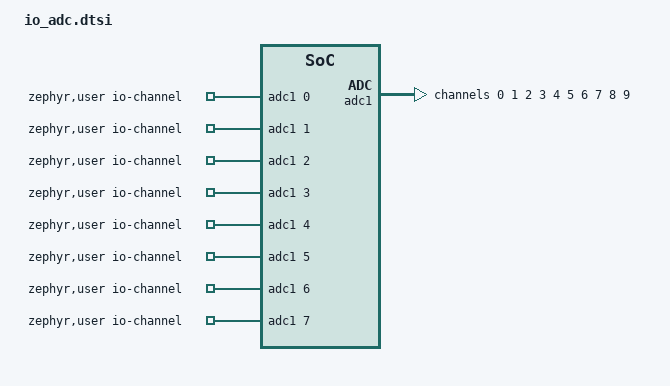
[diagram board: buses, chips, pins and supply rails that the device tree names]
/*
 * Copyright (c) 2025 TiaC Systems
 * SPDX-License-Identifier: Apache-2.0
 */

#include <zephyr/dt-bindings/adc/adc.h>

/ {
	aliases {
		adc0 = &adc1;
	};

	zephyr,user {
		io-channels = <&adc1 0>, <&adc1 1>, <&adc1 2>, <&adc1 3>,
			      <&adc1 4>, <&adc1 5>, <&adc1 6>, <&adc1 7>,
			      <&adc1 8>, <&adc1 9>;
	};
};

&adc1 {
	#address-cells = <1>;
	#size-cells = <0>;

	channel@0 {
		reg = <0>;
		zephyr,gain = "ADC_GAIN_1";
		zephyr,reference = "ADC_REF_INTERNAL";
		zephyr,acquisition-time = <ADC_ACQ_TIME_DEFAULT>;
		zephyr,resolution = <12>;
		zephyr,vref-mv = <3300>;
	};

	channel@1 {
		reg = <1>;
		zephyr,gain = "ADC_GAIN_1";
		zephyr,reference = "ADC_REF_INTERNAL";
		zephyr,acquisition-time = <ADC_ACQ_TIME_DEFAULT>;
		zephyr,resolution = <12>;
		zephyr,vref-mv = <3300>;
	};

	channel@2 {
		reg = <2>;
		zephyr,gain = "ADC_GAIN_1";
		zephyr,reference = "ADC_REF_INTERNAL";
		zephyr,acquisition-time = <ADC_ACQ_TIME_DEFAULT>;
		zephyr,resolution = <12>;
		zephyr,vref-mv = <3300>;
	};

	channel@3 {
		reg = <3>;
		zephyr,gain = "ADC_GAIN_1";
		zephyr,reference = "ADC_REF_INTERNAL";
		zephyr,acquisition-time = <ADC_ACQ_TIME_DEFAULT>;
		zephyr,resolution = <12>;
		zephyr,vref-mv = <3300>;
	};

	channel@4 {
		reg = <4>;
		zephyr,gain = "ADC_GAIN_1";
		zephyr,reference = "ADC_REF_INTERNAL";
		zephyr,acquisition-time = <ADC_ACQ_TIME_DEFAULT>;
		zephyr,resolution = <12>;
		zephyr,vref-mv = <3300>;
	};

	channel@5 {
		reg = <5>;
		zephyr,gain = "ADC_GAIN_1";
		zephyr,reference = "ADC_REF_INTERNAL";
		zephyr,acquisition-time = <ADC_ACQ_TIME_DEFAULT>;
		zephyr,resolution = <12>;
		zephyr,vref-mv = <3300>;
	};

	channel@6 {
		reg = <6>;
		zephyr,gain = "ADC_GAIN_1";
		zephyr,reference = "ADC_REF_INTERNAL";
		zephyr,acquisition-time = <ADC_ACQ_TIME_DEFAULT>;
		zephyr,resolution = <12>;
		zephyr,vref-mv = <3300>;
	};

	channel@7 {
		reg = <7>;
		zephyr,gain = "ADC_GAIN_1";
		zephyr,reference = "ADC_REF_INTERNAL";
		zephyr,acquisition-time = <ADC_ACQ_TIME_DEFAULT>;
		zephyr,resolution = <12>;
		zephyr,vref-mv = <3300>;
	};

	channel@8 {
		reg = <8>;
		zephyr,gain = "ADC_GAIN_1";
		zephyr,reference = "ADC_REF_INTERNAL";
		zephyr,acquisition-time = <ADC_ACQ_TIME_DEFAULT>;
		zephyr,resolution = <12>;
		zephyr,vref-mv = <3300>;
	};

	channel@9 {
		reg = <9>;
		zephyr,gain = "ADC_GAIN_1";
		zephyr,reference = "ADC_REF_INTERNAL";
		zephyr,acquisition-time = <ADC_ACQ_TIME_DEFAULT>;
		zephyr,resolution = <12>;
		zephyr,vref-mv = <3300>;
	};
};
